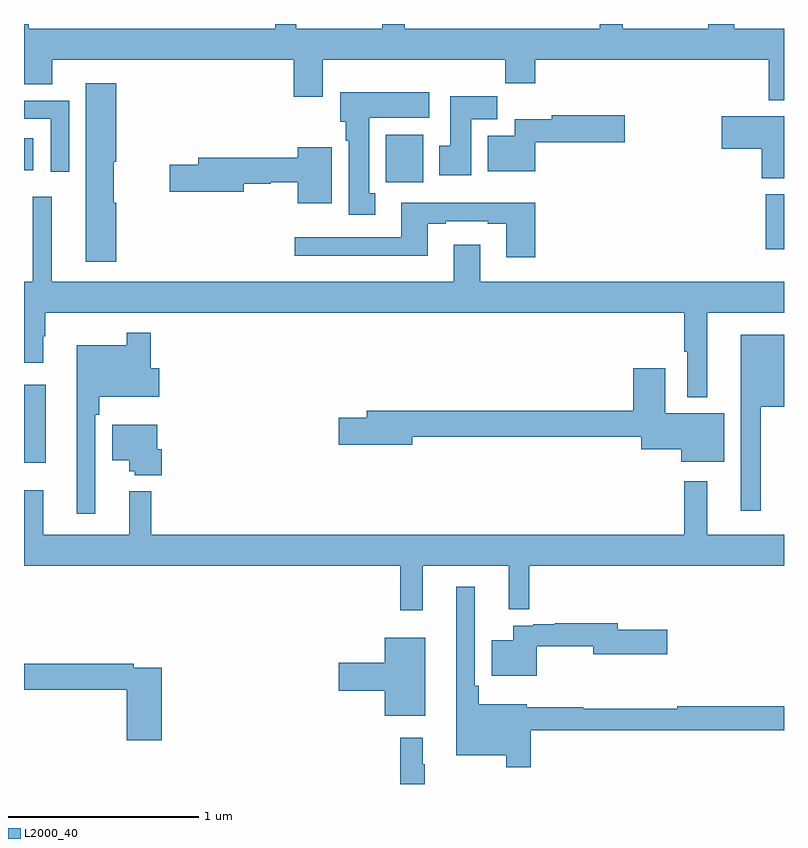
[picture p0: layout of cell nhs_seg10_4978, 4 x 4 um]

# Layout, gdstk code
import gdstk
lib = gdstk.Library(unit=1e-6, precision=1e-09)
def R(c, l, rs):  # rectangles x0, y0, x1, y1
    for r in rs: c.add(gdstk.rectangle(r[:2], r[2:], *l))
def P(c, l, *ps):  # polygons
    for p in ps: c.add(gdstk.Polygon(p, *l))
L2000_40 = (2000, 40)

nhs_seg10_4978 = lib.new_cell('nhs_seg10_4978')
R(nhs_seg10_4978, L2000_40, [(399,1302.191,399.115,1302.601), (402.905,1303.314,403,1303.603), (400.905,1303.668,401.101,1303.918), (399,1303.73,399.049,1303.9)])
P(nhs_seg10_4978, L2000_40, [(403,1304.476),(402.739,1304.476),(402.739,1304.5),(402.6,1304.5),(402.6,1304.476),(402.151,1304.476),(402.151,1304.5),(402.03,1304.5),(402.03,1304.476),(401.003,1304.476),(401.003,1304.5),(400.886,1304.5),(400.886,1304.476),(400.433,1304.476),(400.433,1304.5),(400.323,1304.5),(400.323,1304.476),(399.026,1304.476),(399.026,1304.5),(399,1304.5),(399,1304.182),(399.148,1304.182),(399.148,1304.312),(400.421,1304.312),(400.421,1304.118),(400.573,1304.118),(400.573,1304.312),(401.533,1304.312),(401.533,1304.188),(401.69,1304.188),(401.69,1304.312),(402.919,1304.312),(402.919,1304.099),(403,1304.099)],
  [(399.485,1303.56),(399.472,1303.56),(399.472,1303.775),(399.485,1303.775),(399.485,1304.188),(399.326,1304.188),(399.326,1303.248),(399.485,1303.248)],
  [(400.849,1303.609),(400.816,1303.609),(400.816,1304.006),(401.134,1304.006),(401.134,1304.14),(400.664,1304.14),(400.664,1303.986),(400.694,1303.986),(400.694,1303.886),(400.709,1303.886),(400.709,1303.497),(400.849,1303.497)],
  [(401.353,1304),(401.492,1304),(401.492,1304.119),(401.243,1304.119),(401.243,1303.86),(401.186,1303.86),(401.186,1303.704),(401.353,1303.704)],
  [(399.237,1304.097),(399,1304.097),(399,1304.001),(399.141,1304.001),(399.141,1303.722),(399.237,1303.722)],
  [(401.692,1303.877),(402.163,1303.877),(402.163,1304.019),(401.778,1304.019),(401.778,1303.999),(401.582,1303.999),(401.582,1303.912),(401.441,1303.912),(401.441,1303.724),(401.692,1303.724)],
  [(403,1304.014),(402.672,1304.014),(402.672,1303.844),(402.884,1303.844),(402.884,1303.688),(403,1303.688)],
  [(400.621,1303.852),(400.442,1303.852),(400.442,1303.796),(399.917,1303.796),(399.917,1303.76),(399.768,1303.76),(399.768,1303.618),(400.156,1303.618),(400.156,1303.66),(400.299,1303.66),(400.299,1303.668),(400.442,1303.668),(400.442,1303.556),(400.621,1303.556)],
  [(402.595,1302.98),(403,1302.98),(403,1303.144),(401.401,1303.144),(401.401,1303.339),(401.261,1303.339),(401.261,1303.144),(399.146,1303.144),(399.146,1303.591),(399.047,1303.591),(399.047,1303.144),(399,1303.144),(399,1302.717),(399.1,1302.717),(399.1,1302.857),(399.112,1302.857),(399.112,1302.98),(402.474,1302.98),(402.474,1302.775),(402.491,1302.775),(402.491,1302.536),(402.595,1302.536)],
  [(401.69,1303.558),(400.985,1303.558),(400.985,1303.377),(400.425,1303.377),(400.425,1303.28),(401.125,1303.28),(401.125,1303.449),(401.221,1303.449),(401.221,1303.461),(401.441,1303.461),(401.441,1303.449),(401.537,1303.449),(401.537,1303.272),(401.69,1303.272)],
  [(399.375,1302.443),(399.395,1302.443),(399.395,1302.539),(399.712,1302.539),(399.712,1302.687),(399.668,1302.687),(399.668,1302.874),(399.54,1302.874),(399.54,1302.808),(399.278,1302.808),(399.278,1301.922),(399.375,1301.922)],
  [(402.877,1302.485),(403,1302.485),(403,1302.865),(402.773,1302.865),(402.773,1301.937),(402.877,1301.937)],
  [(402.685,1302.451),(402.376,1302.451),(402.376,1302.688),(402.206,1302.688),(402.206,1302.464),(400.805,1302.464),(400.805,1302.428),(400.656,1302.428),(400.656,1302.286),(401.044,1302.286),(401.044,1302.328),(402.248,1302.328),(402.248,1302.263),(402.458,1302.263),(402.458,1302.197),(402.685,1302.197)],
  [(399.725,1302.261),(399.7,1302.261),(399.7,1302.391),(399.464,1302.391),(399.464,1302.203),(399.554,1302.203),(399.554,1302.147),(399.582,1302.147),(399.582,1302.125),(399.725,1302.125)],
  [(401.099,1301.648),(401.552,1301.648),(401.552,1301.419),(401.66,1301.419),(401.66,1301.648),(403,1301.648),(403,1301.812),(402.595,1301.812),(402.595,1302.094),(402.474,1302.094),(402.474,1301.812),(399.671,1301.812),(399.671,1302.04),(399.554,1302.04),(399.554,1301.812),(399.101,1301.812),(399.101,1302.046),(399,1302.046),(399,1301.648),(400.981,1301.648),(400.981,1301.415),(401.099,1301.415)],
  [(401.666,1300.782),(403,1300.782),(403,1300.91),(402.437,1300.91),(402.437,1300.895),(401.943,1300.895),(401.943,1300.903),(401.647,1300.903),(401.647,1300.921),(401.393,1300.921),(401.393,1301.017),(401.373,1301.017),(401.373,1301.539),(401.276,1301.539),(401.276,1300.652),(401.538,1300.652),(401.538,1300.587),(401.666,1300.587)],
  [(401.698,1301.226),(401.996,1301.226),(401.996,1301.183),(402.385,1301.183),(402.385,1301.313),(402.124,1301.313),(402.124,1301.347),(401.794,1301.347),(401.794,1301.34),(401.68,1301.34),(401.68,1301.334),(401.576,1301.334),(401.576,1301.257),(401.462,1301.257),(401.462,1301.069),(401.698,1301.069)],
  [(401.113,1301.269),(400.898,1301.269),(400.898,1301.138),(400.656,1301.138),(400.656,1300.991),(400.898,1300.991),(400.898,1300.859),(401.113,1300.859)],
  [(399.725,1301.112),(399.578,1301.112),(399.578,1301.132),(399,1301.132),(399,1300.996),(399.542,1300.996),(399.542,1300.731),(399.725,1300.731)],
  [(401.11,1300.604),(401.098,1300.604),(401.098,1300.744),(400.981,1300.744),(400.981,1300.5),(401.11,1300.5)])

lib.write_gds('nhs_seg10_4978.gds')
